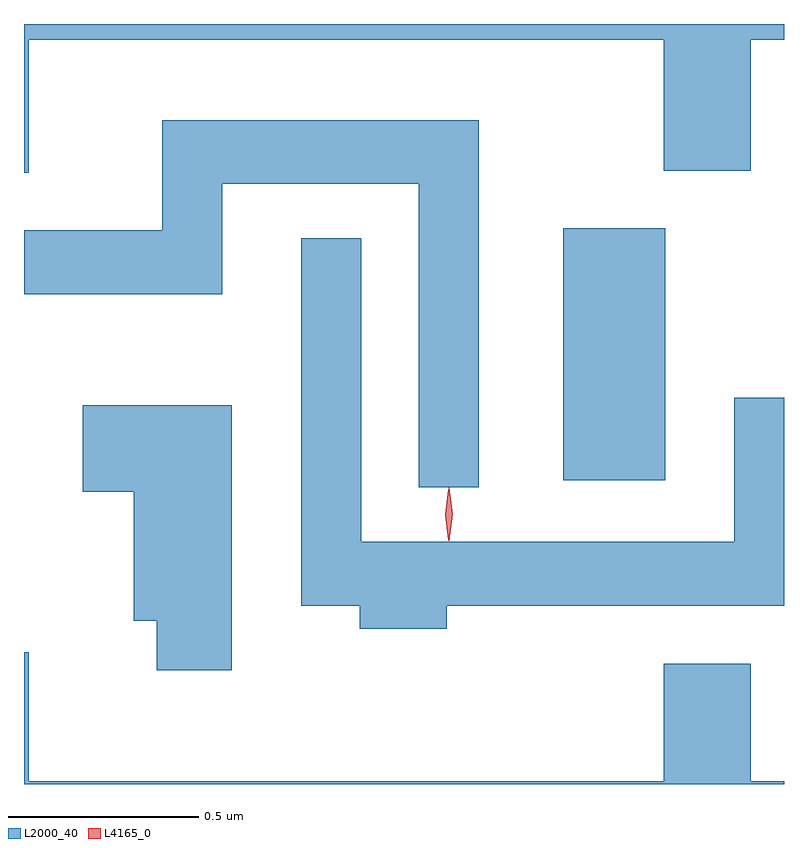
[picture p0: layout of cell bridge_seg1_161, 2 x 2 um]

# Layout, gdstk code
import gdstk
lib = gdstk.Library(unit=1e-6, precision=1e-09)
def R(c, l, rs):  # rectangles x0, y0, x1, y1
    for r in rs: c.add(gdstk.rectangle(r[:2], r[2:], *l))
def P(c, l, *ps):  # polygons
    for p in ps: c.add(gdstk.Polygon(p, *l))
L2000_40 = (2000, 40)
L4165_0 = (4165, 0)

bridge_seg1_161 = lib.new_cell('bridge_seg1_161')
R(bridge_seg1_161, L2000_40, [(843.146,913.956,843.414,914.619)])
P(bridge_seg1_161, L2000_40, [(841.739,915.116),(843.411,915.116),(843.411,914.771),(843.639,914.771),(843.639,915.116),(843.727,915.116),(843.727,915.157),(841.727,915.157),(841.727,914.766),(841.739,914.766)],
  [(842.924,914.904),(842.091,914.904),(842.091,914.614),(841.727,914.614),(841.727,914.446),(842.249,914.446),(842.249,914.736),(842.766,914.736),(842.766,913.938),(842.924,913.938)],
  [(842.839,913.626),(843.727,913.626),(843.727,914.173),(843.596,914.173),(843.596,913.794),(842.614,913.794),(842.614,914.593),(842.456,914.593),(842.456,913.626),(842.611,913.626),(842.611,913.566),(842.839,913.566)],
  [(842.274,914.154),(841.881,914.154),(841.881,913.926),(842.016,913.926),(842.016,913.586),(842.076,913.586),(842.076,913.456),(842.274,913.456)],
  [(843.411,913.474),(843.411,913.164),(841.739,913.164),(841.739,913.504),(841.727,913.504),(841.727,913.157),(843.727,913.157),(843.727,913.164),(843.639,913.164),(843.639,913.474)])
P(bridge_seg1_161, L4165_0, [(842.845,913.797),(842.845,913.797),(842.835,913.867),(842.845,913.936),(842.845,913.936),(842.846,913.936),(842.855,913.867),(842.846,913.797)],
  [(842.844,913.799),(842.844,913.8),(842.835,913.866),(842.844,913.932),(842.845,913.933),(842.845,913.932),(842.854,913.866),(842.845,913.8)])

lib.write_gds('bridge_seg1_161.gds')
